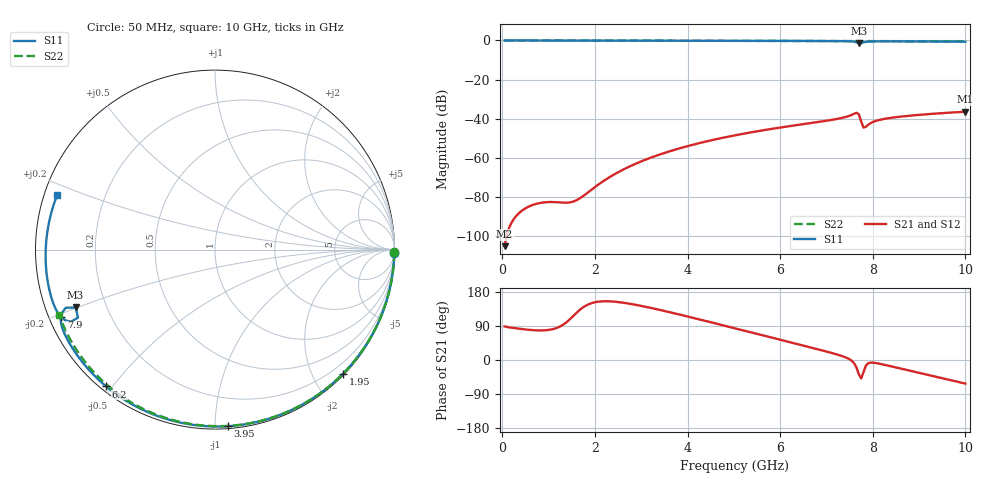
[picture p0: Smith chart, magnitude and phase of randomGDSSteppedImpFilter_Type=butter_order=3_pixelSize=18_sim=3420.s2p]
! freq	dB(S11)	phase(S11)	dB(S12)	phase(S12)
!  dB(S21)	phase(S21)	dB(S22)	phase(S22)
!S-par simulation data
#  GHz  S  DB  R 50
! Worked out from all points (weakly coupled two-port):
!   200 points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, 50 MHz to 10 GHz, reference 50 ohm
!   highest |S21| = -36.49 dB at 10 GHz (marker M1); lowest = -105.4 dB at 50 MHz (marker M2)
!   lowest |S11| = -1.5 dB at 7.7 GHz (marker M3), VSWR 11.56, Z = 4.49 - j9.89 ohm
!   |S11| at or under -10 dB: nowhere
!   |S22| runs from -0.5 to 0.0 dB; largest |S21 - S12| = 0
!   S11 on the Smith chart (normalised r, x): 50 MHz: open; 1.95 GHz: 0.02, -2.47; 3.95 GHz: 0.01, -1.08; 6.2 GHz: 0.02, -0.48; 7.9 GHz: 0.03, -0.21; 10 GHz: 0.04, +0.17
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0.05  -0.00 -1.1  -105.35 88.5  -105.35 88.5  -0.00 -0.9
0.85  -0.02 -19.5  -83.09 78.0  -83.09 78.0  -0.02 -15.4
1.75  -0.05 -39.7  -79.61 139.4  -79.61 139.4  -0.04 -31.4
1.95  -0.06 -44.1  -75.99 150.8  -75.99 150.8  -0.04 -34.9
2.25  -0.06 -50.6  -70.99 155.1  -70.99 155.1  -0.05 -40.1
2.6  -0.07 -58.1  -66.25 151.4  -66.25 151.4  -0.06 -46.1
3.4  -0.10 -74.8  -58.41 132.2  -58.41 132.2  -0.08 -59.5
3.95  -0.12 -85.8  -54.45 116.3  -54.45 116.3  -0.09 -68.5
5.05  -0.16 -107.1  -48.47 82.8  -48.47 82.8  -0.13 -85.8
6.2  -0.23 -128.5  -43.89 47.4  -43.89 47.4  -0.19 -103.1
6.7  -0.27 -137.7  -42.17 31.9  -42.17 31.9  -0.22 -110.4
7.3  -0.33 -149.4  -39.86 11.8  -39.86 11.8  -0.26 -119.0
7.55  -0.50 -155.6  -38.06 -2.5  -38.06 -2.5  -0.27 -122.6
7.65  -0.99 -158.7  -37.05 -20.1  -37.05 -20.1  -0.28 -124.0
7.7  -1.51 -157.4  -37.84 -38.3  -37.84 -38.3  -0.29 -124.7
7.75  -1.39 -153.6  -41.57 -48.8  -41.57 -48.8  -0.29 -125.4
7.8  -0.94 -153.4  -44.63 -31.8  -44.63 -31.8  -0.30 -126.1
7.9  -0.58 -156.2  -43.21 -8.8  -43.21 -8.8  -0.31 -127.5
8.05  -0.47 -160.0  -41.33 -7.7  -41.33 -7.7  -0.32 -129.6
8.35  -0.45 -166.3  -39.78 -15.4  -39.78 -15.4  -0.35 -133.8
9.2  -0.53 177.0  -37.73 -39.8  -37.73 -39.8  -0.43 -145.8
10  -0.63 160.8  -36.49 -62.2  -36.49 -62.2  -0.53 -157.3
